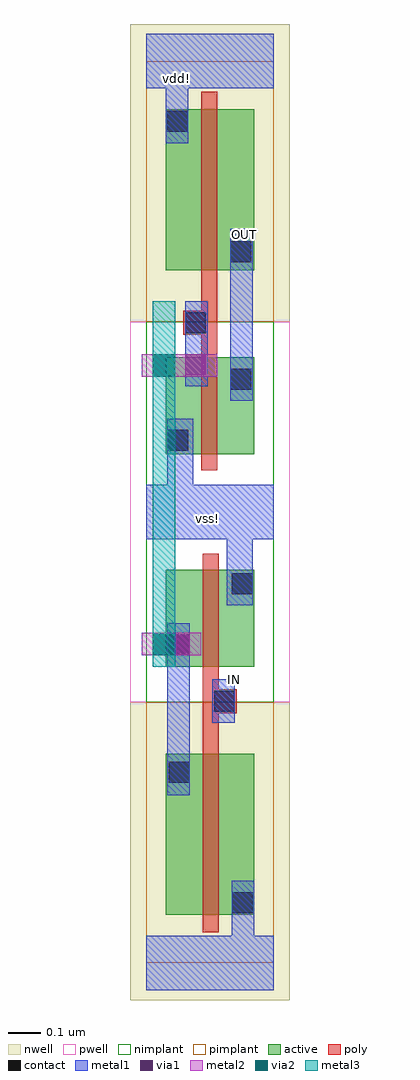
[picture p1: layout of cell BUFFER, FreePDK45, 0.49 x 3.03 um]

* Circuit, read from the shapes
.subckt BUFFER IN OUT vdd! vss!
M1 OUT INVD1_0/vi vss! VSUBS nfet w=0.3u l=0.05u
M2 vss! IN INVD1_0/vi VSUBS nfet w=0.3u l=0.05u
M3 OUT INVD1_0/vi vdd! n1 pfet w=0.5u l=0.05u
M4 vdd! IN INVD1_0/vi n2 pfet w=0.5u l=0.05u
.ends

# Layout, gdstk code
from math import pi, radians
import gdstk
lib = gdstk.Library(unit=1e-6, precision=1e-09)
def R(c, l, rs):  # rectangles x0, y0, x1, y1
    for r in rs: c.add(gdstk.rectangle(r[:2], r[2:], *l))
active = (1, 0)
pwell = (2, 0)
nwell = (3, 0)
nimplant = (4, 0)
pimplant = (5, 0)
poly = (9, 0)
contact = (10, 0)
metal1 = (11, 0)
via1 = (12, 0)
metal2 = (13, 0)
via2 = (14, 0)
metal3 = (15, 0)

invd1 = lib.new_cell('INVD1')
R(invd1, active, [(0.545,-1.465,0.82,-1.165), (0.545,-0.895,0.82,-0.395)])
R(invd1, pwell, [(0.435,-1.76,0.93,-1.055)])
R(invd1, nwell, [(0.435,-1.055,0.93,-0.13)])
R(invd1, nimplant, [(0.485,-1.645,0.88,-1.055)])
R(invd1, pimplant, [(0.485,-1.055,0.88,-0.245)])
R(invd1, poly, [(0.655,-1.515,0.705,-0.34), (0.6,-1.095,0.705,-1.02)])
R(invd1, contact, [(0.55,-1.455,0.615,-1.39), (0.745,-1.265,0.81,-1.2), (0.605,-1.09,0.67,-1.025), (0.745,-0.87,0.81,-0.805), (0.55,-0.465,0.615,-0.4)])
R(invd1, metal1, [(0.485,-1.73,0.88,-1.56), (0.55,-1.64,0.63,-1.355), (0.745,-1.3,0.815,-0.765), (0.605,-1.125,0.675,-0.99), (0.545,-0.5,0.615,-0.33), (0.485,-0.33,0.88,-0.16)])
invd1.add(gdstk.Label('vo', (0.775,-1.06), layer=11, texttype=0))
invd1.add(gdstk.Label('vi', (0.635,-1.045), layer=11, texttype=0))
invd1.add(gdstk.Label('vss!', (0.68,-1.705), layer=11, texttype=0))
invd1.add(gdstk.Label('vdd!', (0.675,-0.23), layer=11, texttype=0))

buffer = lib.new_cell('BUFFER')
R(buffer, metal1, [(1.26,2.395,1.33,2.59)])
R(buffer, via1, [(1.21,1.56,1.275,1.625), (1.26,2.43,1.325,2.495)])
R(buffer, metal2, [(1.125,1.56,1.31,1.63), (1.125,2.425,1.36,2.495)])
R(buffer, via2, [(1.16,1.56,1.225,1.625), (1.16,2.425,1.23,2.495)])
R(buffer, metal3, [(1.16,1.525,1.23,2.66)])
buffer.add(gdstk.Reference(invd1, (0.655,3.65)))
buffer.add(gdstk.Reference(invd1, (2.02,0.36), rotation=pi))
buffer.add(gdstk.Label('vss!', (1.33,1.985), layer=11, texttype=0))
buffer.add(gdstk.Label('vdd!', (1.235,3.35), layer=11, texttype=0))
buffer.add(gdstk.Label('OUT', (1.445,2.865), layer=11, texttype=0))
buffer.add(gdstk.Label('IN', (1.415,1.485), layer=11, texttype=0))

lib.write_gds('BUFFER.gds')
